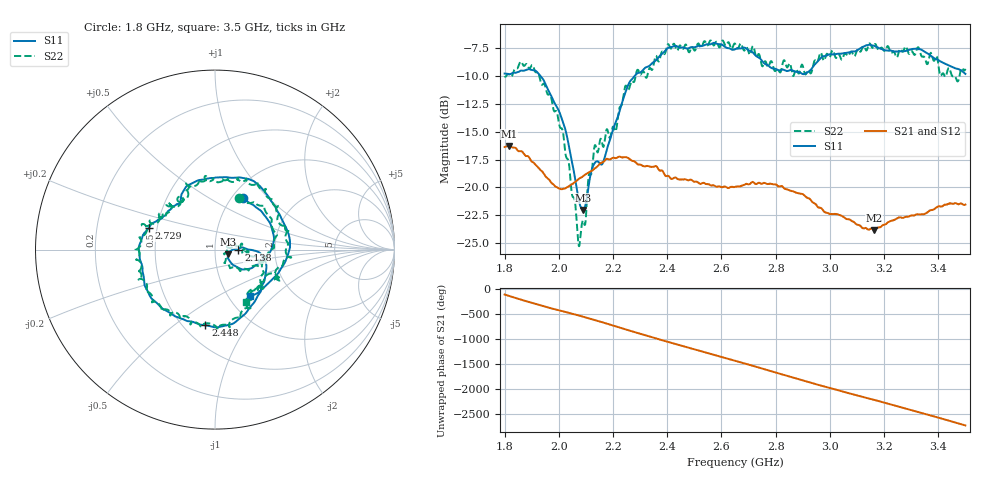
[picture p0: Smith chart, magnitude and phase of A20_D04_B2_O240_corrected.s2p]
! Created with skrf 1.9.0 (http://scikit-rf.org).
# Hz S RI R 50.0
!freq ReS11 ImS11 ReS21 ImS21 ReS12 ImS12 ReS22 ImS22
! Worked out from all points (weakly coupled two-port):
!   1601 points, 1.8 GHz to 3.5 GHz, reference 50 ohm
!   highest |S21| = -16.27 dB at 1.816 GHz (marker M1); lowest = -23.8 dB at 3.163 GHz (marker M2)
!   lowest |S11| = -22.0 dB at 2.089 GHz (marker M3), VSWR 1.17, Z = 58 - j3.11 ohm
!   |S11| at or under -10 dB: 1.933 GHz to 2.279 GHz (346 MHz wide, 16.4 % of centre)
!   |S22| runs from -25.3 to -6.8 dB; largest |S21 - S12| = 0.0025
!   S11 on the Smith chart (normalised r, x): 1.8 GHz: 1.13, +0.72; 2.138 GHz: 1.30, -0.01; 2.448 GHz: 0.64, -0.66; 2.729 GHz: 0.45, +0.13; 3.5 GHz: 1.25, -0.72
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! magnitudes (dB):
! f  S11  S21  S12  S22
! 1.8 GHz  -9.8  -16.4  -16.4  -10.0
! 1.816 GHz  -9.8  -16.3  -16.3  -9.8
! 1.903 GHz  -9.5  -17.7  -17.7  -9.0
! 1.968 GHz  -11.6  -19.4  -19.5  -11.6
! 2.023 GHz  -14.7  -20.1  -20.1  -16.7
! 2.072 GHz  -20.9  -19.3  -19.3  -25.1
! 2.084 GHz  -21.9  -19.1  -19.0  -23.5
! 2.089 GHz  -22.0  -19.0  -19.0  -23.0
! 2.138 GHz  -17.7  -18.2  -18.2  -16.4
! 2.164 GHz  -17.7  -17.7  -17.6  -16.4
! 2.209 GHz  -14.2  -17.4  -17.3  -15.0
! 2.262 GHz  -10.5  -17.5  -17.5  -10.9
! 2.367 GHz  -8.3  -18.4  -18.3  -8.7
! 2.448 GHz  -7.4  -19.3  -19.3  -7.2
! 2.65 GHz  -7.6  -20.0  -19.9  -7.1
! 2.729 GHz  -8.2  -19.7  -19.7  -8.3
! 2.934 GHz  -9.3  -21.3  -21.2  -9.5
! 3.163 GHz  -7.3  -23.8  -23.8  -7.2
! 3.217 GHz  -7.7  -23.1  -23.1  -7.4
! 3.327 GHz  -7.6  -22.4  -22.4  -7.4
! 3.468 GHz  -9.3  -21.4  -21.4  -10.4
! 3.5 GHz  -9.8  -21.5  -21.5  -9.3
